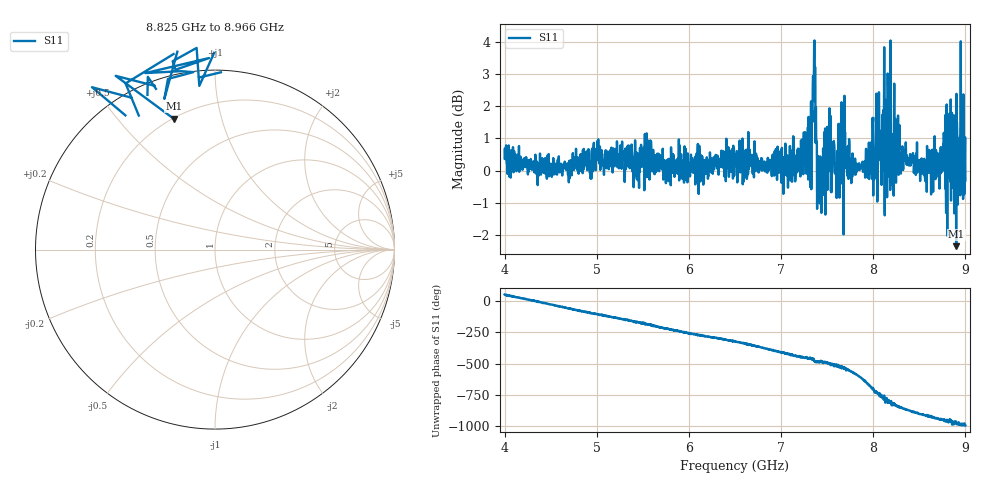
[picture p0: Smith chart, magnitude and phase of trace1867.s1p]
! Created with skrf 1.8.0 (http://scikit-rf.org).
# Hz S RI R 50.0
!freq ReS11 ImS11
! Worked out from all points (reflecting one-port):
!   1601 points, 4 GHz to 9 GHz, reference 50 ohm
!   lowest |S11| = -2.3 dB at 8.9 GHz (marker M1), VSWR 7.49, Z = 10.2 + j35.7 ohm
!   phase of S11 starts at 53 deg and turns -1046 deg over the sweep
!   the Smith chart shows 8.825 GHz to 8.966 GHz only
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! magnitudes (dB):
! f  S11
! 4 GHz  0.4
! 4.625 GHz  -0.1
! 5.25 GHz  0.1
! 5.875 GHz  0.4
! 6.5 GHz  0.5
! 7.125 GHz  0.6
! 7.297 GHz  1.7
! 7.356 GHz  2.9
! 7.369 GHz  3.2
! 7.397 GHz  -0.6
! 7.416 GHz  -0.8
! 7.512 GHz  1.0
! 7.609 GHz  0.2
! 7.647 GHz  1.2
! 7.669 GHz  1.6
! 7.75 GHz  0.4
! 7.997 GHz  0.8
! 8.044 GHz  -1.0
! 8.066 GHz  1.4
! 8.166 GHz  1.4
! 8.225 GHz  1.6
! 8.375 GHz  0.4
! 8.556 GHz  -0.1
! 8.731 GHz  0.7
! 8.834 GHz  1.2
! 8.9 GHz  -2.3
! 8.972 GHz  1.3
! 9 GHz  -0.3
